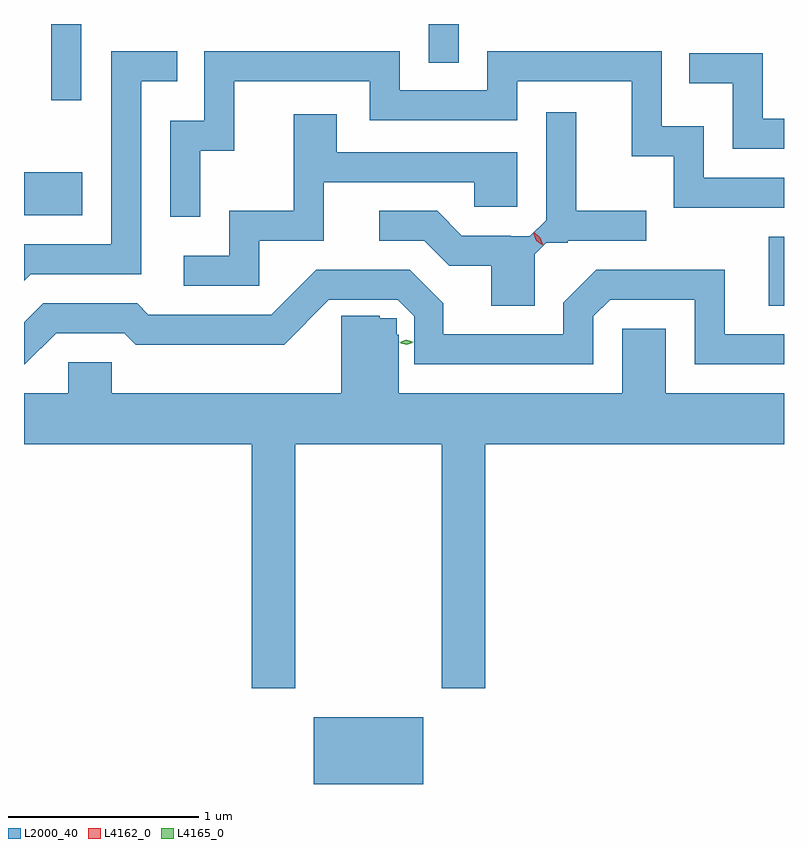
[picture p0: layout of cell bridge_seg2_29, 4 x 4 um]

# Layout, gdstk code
import gdstk
lib = gdstk.Library(unit=1e-6, precision=1e-09)
def R(c, l, rs):  # rectangles x0, y0, x1, y1
    for r in rs: c.add(gdstk.rectangle(r[:2], r[2:], *l))
def P(c, l, *ps):  # polygons
    for p in ps: c.add(gdstk.Polygon(p, *l))
L2000_40 = (2000, 40)
L4162_0 = (4162, 0)
L4165_0 = (4165, 0)

bridge_seg2_29 = lib.new_cell('bridge_seg2_29')
R(bridge_seg2_29, L2000_40, [(1686.786,1055.408,1687.364,1055.759), (1689.181,1057.926,1689.262,1058.289), (1685.262,1058.401,1685.569,1058.629), (1685.406,1059.008,1685.564,1059.408), (1687.391,1059.203,1687.549,1059.408)])
P(bridge_seg2_29, L2000_40, [(1686.189,1058.741),(1686.369,1058.741),(1686.369,1059.106),(1687.081,1059.106),(1687.081,1058.901),(1687.859,1058.901),(1687.859,1059.106),(1688.461,1059.106),(1688.461,1058.711),(1688.681,1058.711),(1688.681,1058.441),(1689.262,1058.441),(1689.262,1058.599),(1688.839,1058.599),(1688.839,1058.869),(1688.619,1058.869),(1688.619,1059.264),(1687.701,1059.264),(1687.701,1059.059),(1687.239,1059.059),(1687.239,1059.264),(1686.211,1059.264),(1686.211,1058.899),(1686.031,1058.899),(1686.031,1058.393),(1686.189,1058.393)],
  [(1685.297,1058.091),(1685.879,1058.091),(1685.879,1059.106),(1686.068,1059.106),(1686.068,1059.264),(1685.721,1059.264),(1685.721,1058.249),(1685.262,1058.249),(1685.262,1058.056)],
  [(1689.262,1058.909),(1689.149,1058.909),(1689.149,1059.254),(1688.763,1059.254),(1688.763,1059.096),(1688.991,1059.096),(1688.991,1058.751),(1689.262,1058.751)],
  [(1687.949,1058.196),(1688.01,1058.257),(1688.123,1058.257),(1688.123,1058.266),(1688.538,1058.266),(1688.538,1058.424),(1688.169,1058.424),(1688.169,1058.943),(1688.011,1058.943),(1688.011,1058.376),(1687.925,1058.29),(1687.825,1058.29),(1687.825,1058.294),(1687.567,1058.294),(1687.437,1058.424),(1687.133,1058.424),(1687.133,1058.266),(1687.369,1058.266),(1687.499,1058.136),(1687.721,1058.136),(1687.721,1057.926),(1687.949,1057.926)],
  [(1686.499,1058.266),(1686.839,1058.266),(1686.839,1058.576),(1687.631,1058.576),(1687.631,1058.446),(1687.859,1058.446),(1687.859,1058.734),(1686.909,1058.734),(1686.909,1058.934),(1686.681,1058.934),(1686.681,1058.424),(1686.341,1058.424),(1686.341,1058.189),(1686.103,1058.189),(1686.103,1058.031),(1686.499,1058.031)],
  [(1685.432,1057.781),(1685.789,1057.781),(1685.849,1057.721),(1686.632,1057.721),(1686.867,1057.957),(1687.229,1057.957),(1687.315,1057.87),(1687.315,1057.616),(1688.259,1057.616),(1688.259,1057.869),(1688.347,1057.956),(1688.791,1057.956),(1688.791,1057.616),(1689.262,1057.616),(1689.262,1057.774),(1688.949,1057.774),(1688.949,1058.114),(1688.274,1058.114),(1688.101,1057.942),(1688.101,1057.774),(1687.469,1057.774),(1687.469,1057.937),(1687.292,1058.114),(1686.799,1058.114),(1686.564,1057.879),(1685.917,1057.879),(1685.857,1057.939),(1685.364,1057.939),(1685.262,1057.837),(1685.262,1057.616),(1685.267,1057.616)],
  [(1686.689,1057.196),(1687.461,1057.196),(1687.461,1055.911),(1687.689,1055.911),(1687.689,1057.196),(1689.262,1057.196),(1689.262,1057.464),(1688.639,1057.464),(1688.639,1057.804),(1688.411,1057.804),(1688.411,1057.464),(1687.235,1057.464),(1687.235,1057.772),(1687.225,1057.772),(1687.225,1057.86),(1687.135,1057.86),(1687.135,1057.873),(1686.932,1057.873),(1686.932,1057.772),(1686.931,1057.772),(1686.931,1057.464),(1685.724,1057.464),(1685.724,1057.629),(1685.496,1057.629),(1685.496,1057.464),(1685.262,1057.464),(1685.262,1057.196),(1686.461,1057.196),(1686.461,1055.911),(1686.689,1055.911)])
P(bridge_seg2_29, L4162_0, [(1687.987,1058.246),(1687.959,1058.268),(1687.946,1058.302),(1687.946,1058.303),(1687.947,1058.303),(1687.975,1058.28),(1687.988,1058.247),(1687.988,1058.246)],
  [(1687.994,1058.243),(1687.994,1058.243),(1687.963,1058.271),(1687.947,1058.31),(1687.947,1058.311),(1687.948,1058.311),(1687.979,1058.283),(1687.995,1058.244)])
P(bridge_seg2_29, L4165_0, [(1687.275,1057.725),(1687.24,1057.733),(1687.239,1057.734),(1687.24,1057.734),(1687.274,1057.745),(1687.31,1057.736),(1687.31,1057.736),(1687.31,1057.735)],
  [(1687.276,1057.719),(1687.243,1057.728),(1687.242,1057.728),(1687.243,1057.729),(1687.275,1057.74),(1687.308,1057.731),(1687.308,1057.731),(1687.308,1057.73)])

lib.write_gds('bridge_seg2_29.gds')
